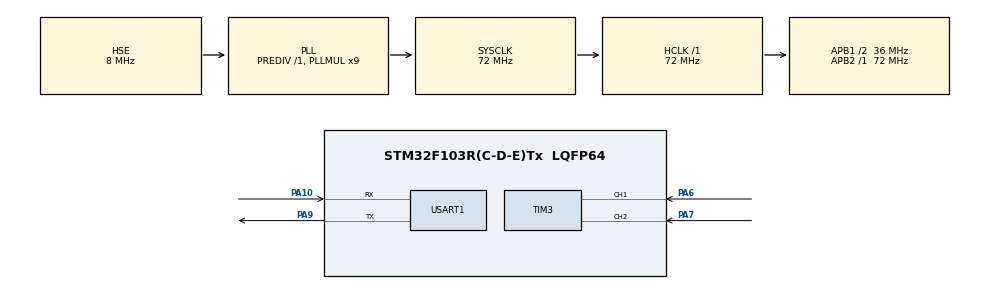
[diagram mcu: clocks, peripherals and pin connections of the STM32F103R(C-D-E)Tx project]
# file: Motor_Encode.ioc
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Dma.Request0=USART1_TX
Dma.USART1_TX.0.Direction=DMA_MEMORY_TO_PERIPH
Dma.USART1_TX.0.Instance=DMA1_Channel4
Dma.USART1_TX.0.MemDataAlignment=DMA_MDATAALIGN_BYTE
Dma.USART1_TX.0.MemInc=DMA_MINC_ENABLE
Dma.USART1_TX.0.Mode=DMA_NORMAL
Dma.USART1_TX.0.PeriphDataAlignment=DMA_PDATAALIGN_BYTE
Dma.USART1_TX.0.PeriphInc=DMA_PINC_DISABLE
Dma.USART1_TX.0.Priority=DMA_PRIORITY_MEDIUM
Mcu.Family=STM32F1
Mcu.Name=STM32F103R(C-D-E)Tx
Mcu.Package=LQFP64
NVIC.DMA1_Channel4_IRQn=true\:0\:0\:false\:false\:true\:false\:true\:true
NVIC.PriorityGroup=NVIC_PRIORITYGROUP_4
NVIC.TIM3_IRQn=true\:0\:0\:false\:false\:true\:true\:true\:true
NVIC.TIM6_IRQn=true\:0\:0\:false\:false\:true\:true\:true\:true
NVIC.USART1_IRQn=true\:0\:0\:false\:false\:true\:false\:true\:true
PA10.Mode=Asynchronous
PA10.Signal=USART1_RX
PA13.Mode=Serial_Wire
PA13.Signal=SYS_JTMS-SWDIO
PA14.Mode=Serial_Wire
PA14.Signal=SYS_JTCK-SWCLK
PA6.Signal=S_TIM3_CH1
PA7.Signal=S_TIM3_CH2
PA9.Mode=Asynchronous
PA9.Signal=USART1_TX
PD0-OSC_IN.Mode=HSE-External-Oscillator
PD0-OSC_IN.Signal=RCC_OSC_IN
PD1-OSC_OUT.Mode=HSE-External-Oscillator
PD1-OSC_OUT.Signal=RCC_OSC_OUT
ProjectManager.HeapSize=0x200
ProjectManager.StackSize=0x400
ProjectManager.TargetToolchain=MDK-ARM V5.32
RCC.AHBFreq_Value=72000000
RCC.APB1CLKDivider=RCC_HCLK_DIV2
RCC.APB1Freq_Value=36000000
RCC.APB1TimFreq_Value=72000000
RCC.APB2Freq_Value=72000000
RCC.APB2TimFreq_Value=72000000
RCC.HCLKFreq_Value=72000000
RCC.PLLMUL=RCC_PLL_MUL9
RCC.PLLSourceVirtual=RCC_PLLSOURCE_HSE
RCC.SYSCLKFreq_VALUE=72000000
RCC.SYSCLKSource=RCC_SYSCLKSOURCE_PLLCLK
RCC.USBFreq_Value=72000000
SH.S_TIM3_CH1.0=TIM3_CH1,Encoder_Interface
SH.S_TIM3_CH2.0=TIM3_CH2,Encoder_Interface
TIM6.Period=99
TIM6.Prescaler=7199
USART1.VirtualMode=VM_ASYNC
VP_TIM6_VS_ClockSourceINT.Mode=Enable_Timer
board=custom

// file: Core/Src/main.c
/* USER CODE BEGIN Header */
/**
  ******************************************************************************
  * @file           : main.c
  * @brief          : Main program body
  ******************************************************************************
  * @attention
  *
  * Copyright (c) 2025 STMicroelectronics.
  * All rights reserved.
  *
  * This software is licensed under terms that can be found in the LICENSE file
  * in the root directory of this software component.
  * If no LICENSE file comes with this software, it is provided AS-IS.
  *
  ******************************************************************************
  */
/* USER CODE END Header */
#include "main.h"
#include<math.h>
#include<stdio.h>
#include<string.h>
#include<stdlib.h>

TIM_HandleTypeDef htim3;
TIM_HandleTypeDef htim6;

UART_HandleTypeDef huart1;
DMA_HandleTypeDef hdma_usart1_tx;

/* USER CODE BEGIN PV */
int32_t Encoder_Overflow_Count = 0;
int32_t Last_Total_Count = 0;
int32_t Total_Pulse_Count = 0;//编码器变量
#define ENCODER_PPR 500//编码器每转脉冲数
#define GEAR_RATIO  34 //减速比
#define ENCODER_MULTIPLIER 4 //编码器倍频
float Motor_Shaft_Angle = 0.0f;//电机轴角度变量
float Motor_Shaft_Revolutions = 0.0f;//电机轴圈数变量
float Motor_Speed_RPM = 0.0f;//电机转速变量
uint8_t vofa_buffer[100];
float vofa_data[4];//vofa数据数组
#define SPEED_ALPHA 0.2f//速度滤波系数
/* USER CODE END PV */

void SystemClock_Config(void);
static void MX_GPIO_Init(void);
static void MX_DMA_Init(void);
static void MX_USART1_UART_Init(void);
static void MX_TIM3_Init(void);
static void MX_TIM6_Init(void);
/* USER CODE BEGIN PFP */
void Calculate_Motor_Angle(void);
void Calculate_Motor_Speed(void);
void VOFA_SendHeader(void);
void VOFA_SendAngleData(float angle, float revolutions, float speed, float time);
//void TIM6_IRQHandler(void);

/* USER CODE END PFP */

int main(void)
{

  /* MCU Configuration--------------------------------------------------------*/

  /* Reset of all peripherals, Initializes the Flash interface and the Systick. */
  HAL_Init();

  /* Configure the system clock */
  SystemClock_Config();

  /* Initialize all configured peripherals */
  MX_GPIO_Init();
  MX_DMA_Init();
  MX_USART1_UART_Init();
  MX_TIM3_Init();
  MX_TIM6_Init();
  /* USER CODE BEGIN 2 */
  HAL_TIM_Encoder_Start(&htim3, TIM_CHANNEL_ALL);//启动编码器
  HAL_TIM_Base_Start_IT(&htim3);//启动定时器3中断
  HAL_TIM_Base_Start_IT(&htim6);//启动定时器6中断
  HAL_UART_Init(&huart1);//初始化串口1
  VOFA_SendHeader();//初始化vofa协议
  printf("STM32 Encoder Angle Reader Start\r\n");
  printf("Encoder PPR: %d, Gear Ratio: %d, Multiplier: %d\r\n", ENCODER_PPR, GEAR_RATIO, ENCODER_MULTIPLIER);//初始化后测试一下
  /* USER CODE END 2 */

  /* Infinite loop */
  while (1)
  {
    /* USER CODE BEGIN 3 */
    static uint32_t last_send_time = 0;
    if (HAL_GetTick() - last_send_time >= 50)//50ms间隙
    {
      float current_time =(float)HAL_GetTick()/1000.0f;
      VOFA_SendAngleData(Motor_Shaft_Angle,Motor_Shaft_Revolutions,Motor_Speed_RPM,current_time);//发送数据
      last_send_time = HAL_GetTick();//更新时间
    }
  }
  /* USER CODE END 3 */
}

void SystemClock_Config(void)
{
  RCC_OscInitTypeDef RCC_OscInitStruct = {0};
  RCC_ClkInitTypeDef RCC_ClkInitStruct = {0};

  /** Initializes the RCC Oscillators according to the specified parameters
  * in the RCC_OscInitTypeDef structure.
  */
  RCC_OscInitStruct.OscillatorType = RCC_OSCILLATORTYPE_HSE;
  RCC_OscInitStruct.HSEState = RCC_HSE_ON;
  RCC_OscInitStruct.HSEPredivValue = RCC_HSE_PREDIV_DIV1;
  RCC_OscInitStruct.HSIState = RCC_HSI_ON;
  RCC_OscInitStruct.PLL.PLLState = RCC_PLL_ON;
  RCC_OscInitStruct.PLL.PLLSource = RCC_PLLSOURCE_HSE;
  RCC_OscInitStruct.PLL.PLLMUL = RCC_PLL_MUL9;
  if (HAL_RCC_OscConfig(&RCC_OscInitStruct) != HAL_OK)
  {
    Error_Handler();
  }

  /** Initializes the CPU, AHB and APB buses clocks
  */
  RCC_ClkInitStruct.ClockType = RCC_CLOCKTYPE_HCLK|RCC_CLOCKTYPE_SYSCLK
                              |RCC_CLOCKTYPE_PCLK1|RCC_CLOCKTYPE_PCLK2;
  RCC_ClkInitStruct.SYSCLKSource = RCC_SYSCLKSOURCE_PLLCLK;
  RCC_ClkInitStruct.AHBCLKDivider = RCC_SYSCLK_DIV1;
  RCC_ClkInitStruct.APB1CLKDivider = RCC_HCLK_DIV2;
  RCC_ClkInitStruct.APB2CLKDivider = RCC_HCLK_DIV1;

  if (HAL_RCC_ClockConfig(&RCC_ClkInitStruct, FLASH_LATENCY_2) != HAL_OK)
  {
    Error_Handler();
  }
}

static void MX_TIM3_Init(void)
{

  TIM_Encoder_InitTypeDef sConfig = {0};
  TIM_MasterConfigTypeDef sMasterConfig = {0};

  htim3.Instance = TIM3;
  htim3.Init.Prescaler = 0;
  htim3.Init.CounterMode = TIM_COUNTERMODE_UP;
  htim3.Init.Period = 65535;
  htim3.Init.ClockDivision = TIM_CLOCKDIVISION_DIV1;
  htim3.Init.AutoReloadPreload = TIM_AUTORELOAD_PRELOAD_DISABLE;
  sConfig.EncoderMode = TIM_ENCODERMODE_TI1;
  sConfig.IC1Polarity = TIM_ICPOLARITY_RISING;
  sConfig.IC1Selection = TIM_ICSELECTION_DIRECTTI;
  sConfig.IC1Prescaler = TIM_ICPSC_DIV1;
  sConfig.IC1Filter = 0;
  sConfig.IC2Polarity = TIM_ICPOLARITY_RISING;
  sConfig.IC2Selection = TIM_ICSELECTION_DIRECTTI;
  sConfig.IC2Prescaler = TIM_ICPSC_DIV1;
  sConfig.IC2Filter = 0;
  if (HAL_TIM_Encoder_Init(&htim3, &sConfig) != HAL_OK)
  {
    Error_Handler();
  }
  sMasterConfig.MasterOutputTrigger = TIM_TRGO_RESET;
  sMasterConfig.MasterSlaveMode = TIM_MASTERSLAVEMODE_DISABLE;
  if (HAL_TIMEx_MasterConfigSynchronization(&htim3, &sMasterConfig) != HAL_OK)
  {
    Error_Handler();
  }

}

static void MX_TIM6_Init(void)
{

  TIM_MasterConfigTypeDef sMasterConfig = {0};

  htim6.Instance = TIM6;
  htim6.Init.Prescaler = 7199;
  htim6.Init.CounterMode = TIM_COUNTERMODE_UP;
  htim6.Init.Period = 99;
  htim6.Init.AutoReloadPreload = TIM_AUTORELOAD_PRELOAD_DISABLE;
  if (HAL_TIM_Base_Init(&htim6) != HAL_OK)
  {
    Error_Handler();
  }
  sMasterConfig.MasterOutputTrigger = TIM_TRGO_RESET;
  sMasterConfig.MasterSlaveMode = TIM_MASTERSLAVEMODE_DISABLE;
  if (HAL_TIMEx_MasterConfigSynchronization(&htim6, &sMasterConfig) != HAL_OK)
  {
    Error_Handler();
  }

}

static void MX_USART1_UART_Init(void)
{

  huart1.Instance = USART1;
  huart1.Init.BaudRate = 115200;
  huart1.Init.WordLength = UART_WORDLENGTH_8B;
  huart1.Init.StopBits = UART_STOPBITS_1;
  huart1.Init.Parity = UART_PARITY_NONE;
  huart1.Init.Mode = UART_MODE_TX_RX;
  huart1.Init.HwFlowCtl = UART_HWCONTROL_NONE;
  huart1.Init.OverSampling = UART_OVERSAMPLING_16;
  if (HAL_UART_Init(&huart1) != HAL_OK)
  {
    Error_Handler();
  }

}

static void MX_DMA_Init(void)
{

  /* DMA controller clock enable */
  __HAL_RCC_DMA1_CLK_ENABLE();

  /* DMA interrupt init */
  /* DMA1_Channel4_IRQn interrupt configuration */
  HAL_NVIC_SetPriority(DMA1_Channel4_IRQn, 0, 0);
  HAL_NVIC_EnableIRQ(DMA1_Channel4_IRQn);

}

static void MX_GPIO_Init(void)
{

  /* GPIO Ports Clock Enable */
  __HAL_RCC_GPIOD_CLK_ENABLE();
  __HAL_RCC_GPIOA_CLK_ENABLE();

}

/* USER CODE BEGIN 4 */
void Calculate_Motor_Angle(void)
{
  static int32_t last_total_pulse = 0;
  int16_t current_counter =__HAL_TIM_GET_COUNTER(&htim3);//获取当前计数值
  int32_t current_total = Encoder_Overflow_Count * 65536 + current_counter;//计算总脉冲数
  int32_t pulse_delta = current_total - last_total_pulse;//计算与上次的脉冲差值
  if(abs(pulse_delta)<10000){
    Total_Pulse_Count += pulse_delta;
  }//更新总脉冲数，滤除异常跳变
  last_total_pulse = current_total;//更新上次总脉冲数
  float pulses_per_revolution = ENCODER_PPR * GEAR_RATIO * ENCODER_MULTIPLIER;//计算每转总脉冲数
  Motor_Shaft_Revolutions = (float)Total_Pulse_Count / pulses_per_revolution;//计算电机轴圈数
  Motor_Shaft_Angle = fmod(Motor_Shaft_Revolutions*360.0f,360.0f);//计算电机轴角度
  if(Motor_Shaft_Angle < 0)
  {
    Motor_Shaft_Angle += 360.0f;
  }//确保角度为正值
}
void Calculate_Motor_Speed(void)
{
  static int32_t last_pulse_count = 0;
  static uint32_t last_time = 0;
  uint32_t current_time = HAL_GetTick();//获取当前时间（毫秒）
  uint32_t time_delta = current_time - last_time;//计算时间差
  if(time_delta >= 10){
    int32_t pulse_delta = Total_Pulse_Count - last_pulse_count;//计算脉冲差值
    float pulses_per_revolution = ENCODER_PPR * GEAR_RATIO * ENCODER_MULTIPLIER;//计算每转总脉冲数
    float raw_speed = (float)pulse_delta / pulses_per_revolution * (60000.0f / (float)time_delta);//计算原始速度（RPM）
    static float filtered_speed = 0.0f;
    filtered_speed = SPEED_ALPHA * raw_speed + (1 - SPEED_ALPHA) * filtered_speed;//应用低通滤波
    Motor_Speed_RPM = filtered_speed;//更新电机速度
    last_pulse_count = Total_Pulse_Count;//更新上次脉冲数
    last_time = current_time;//更新上次时间
  }
}
void HAL_TIM_PeriodElapsedCallback(TIM_HandleTypeDef *htim)
{
  if(htim->Instance == TIM3)//编码器计数器溢出中断
  {
    if(__HAL_TIM_IS_TIM_COUNTING_DOWN(&htim3))
    {
      Encoder_Overflow_Count--;
    }
    else
    {
      Encoder_Overflow_Count++;
    }
  }
}
void VOFA_SendAngleData(float angle,float revolutions,float speed,float time)
{
  vofa_data[0]=angle;
  vofa_data[1]=revolutions;
  vofa_data[2]=speed;
  vofa_data[3]=time;
  int len=sprintf((char *)vofa_buffer,"Angle:%.2f,Revolutions:%.2f,Speed:%.2f,Time:%.2f\r\n",
                  vofa_data[0],vofa_data[1],vofa_data[2],vofa_data[3]);
  HAL_UART_Transmit_DMA(&huart1,vofa_buffer,len);
}//发送数据函数
void VOFA_SendHeader(void)
{
  char header[]="---VOFA MOTOR ENCODER DATA---\r\n";
  HAL_UART_Transmit_DMA(&huart1,(uint8_t *)header,strlen(header));
}
/*void TIM6_IRQHandler(void)
{
  HAL_TIM_IRQHandler(&htim6);
  Calculate_Motor_Angle();
  Calculate_Motor_Speed();
}
void VOFA_SendAngleData(float angle,float revolutions,float speed,float time)
{
  vofa_data[0]=angle;
  vofa_data[1]=revolutions;
  vofa_data[2]=speed;
  vofa_data[3]=time;
  int len=sprintf((char *)vofa_buffer,"Angle:%.2f,Revolutions:%.2f,Speed:%.2f,Time:%.2f\r\n",
                  vofa_data[0],vofa_data[1],vofa_data[2],vofa_data[3]);
  HAL_UART_Transmit_DMA(&huart1,vofa_buffer,len);
}//发送数据函数
void VOFA_SendHeader(void)
{
  char header[]="---VOFA MOTOR ENCODER DATA---\r\n";
  HAL_UART_Transmit_DMA(&huart1,(uint8_t *)header,strlen(header));
}*/
/* USER CODE END 4 */

void Error_Handler(void)
{
  __disable_irq();
  while (1)
  {
  }
}
